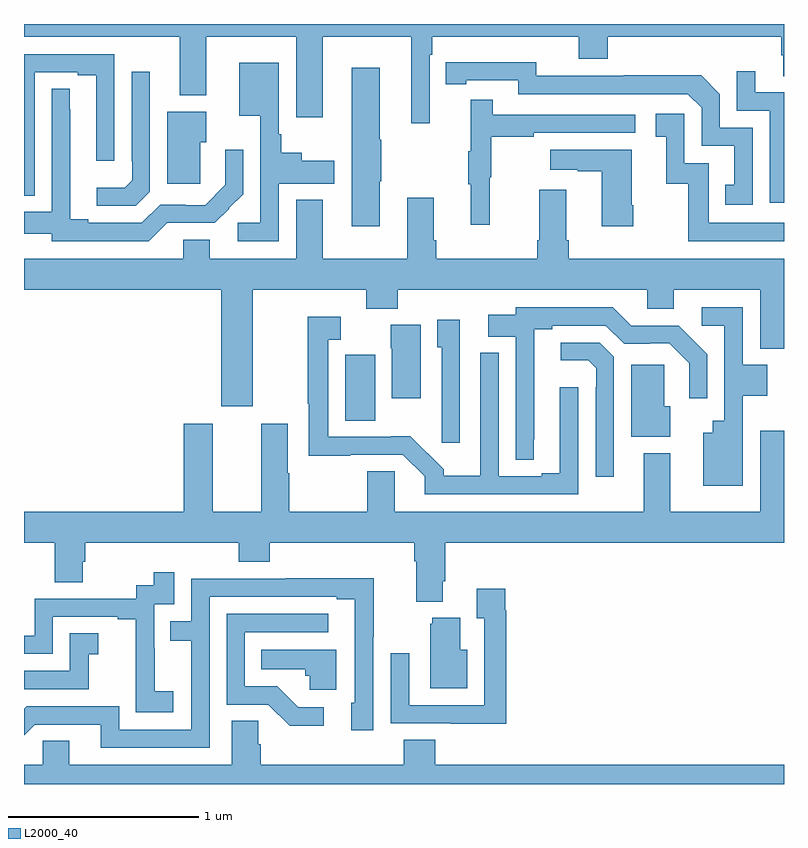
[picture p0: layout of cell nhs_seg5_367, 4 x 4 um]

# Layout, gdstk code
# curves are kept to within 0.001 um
import gdstk
lib = gdstk.Library(unit=1e-6, precision=1e-09)
def R(c, l, rs):  # rectangles x0, y0, x1, y1
    for r in rs: c.add(gdstk.rectangle(r[:2], r[2:], *l))
def P(c, l, *ps):  # polygons
    for p in ps: c.add(gdstk.Polygon(p, *l))
L2000_40 = (2000, 40)

nhs_seg5_367 = lib.new_cell('nhs_seg5_367')
R(nhs_seg5_367, L2000_40, [(134.69,882.712,134.848,883.057)])
P(nhs_seg5_367, L2000_40, [(133,884.732),(133.82,884.732),(133.82,884.423),(133.96,884.423),(133.96,884.732),(134.432,884.732),(134.432,884.307),(134.572,884.307),(134.572,884.732),(135.038,884.732),(135.038,884.277),(135.135,884.277),(135.135,884.636),(135.149,884.636),(135.149,884.732),(135.92,884.732),(135.92,884.615),(136.073,884.615),(136.073,884.732),(136.985,884.732),(136.985,884.634),(136.997,884.634),(136.997,884.524),(137,884.524),(137,884.799),(133,884.799)],
  [(133.056,884.544),(133.283,884.544),(133.283,884.529),(133.379,884.529),(133.379,884.079),(133.476,884.079),(133.476,884.64),(133,884.64),(133,883.895),(133.056,883.895)],
  [(136.836,884.253),(136.662,884.253),(136.662,884.43),(136.564,884.528),(136.156,884.528),(136.156,884.526),(135.696,884.526),(135.696,884.599),(135.22,884.598),(135.22,884.482),(135.328,884.482),(135.328,884.502),(135.6,884.502),(135.6,884.43),(136.494,884.43),(136.566,884.358),(136.566,884.157),(136.739,884.157),(136.739,883.953),(136.69,883.953),(136.69,883.848),(136.836,883.848)],
  [(134.34,883.958),(134.632,883.958),(134.632,884.08),(134.461,884.08),(134.461,884.122),(134.353,884.122),(134.353,884.218),(134.34,884.218),(134.34,884.596),(134.132,884.596),(134.132,884.315),(134.244,884.315),(134.244,883.752),(134.124,883.752),(134.124,883.656),(134.34,883.656)],
  [(134.872,883.972),(134.88,883.972),(134.88,884.189),(134.872,884.189),(134.872,884.569),(134.726,884.569),(134.726,883.734),(134.872,883.734)],
  [(137,884.439),(136.849,884.439),(136.849,884.551),(136.752,884.551),(136.752,884.343),(136.926,884.343),(136.926,883.857),(137,883.857)],
  [(133.662,883.917),(133.662,884.548),(133.566,884.548),(133.566,884.077),(133.569,884.077),(133.569,883.977),(133.529,883.937),(133.383,883.937),(133.383,883.842),(133.587,883.842)],
  [(133.753,883.752),(134.004,883.752),(134.154,883.904),(134.154,884.137),(134.06,884.137),(134.06,883.952),(133.954,883.846),(133.852,883.846),(133.852,883.848),(133.716,883.848),(133.62,883.752),(133.339,883.752),(133.339,883.772),(133.243,883.772),(133.242,884.459),(133.146,884.459),(133.146,883.81),(133.002,883.81),(133.002,883.694),(133.146,883.694),(133.146,883.656),(133.657,883.656)],
  [(135.452,883.992),(135.46,883.992),(135.46,884.206),(135.683,884.206),(135.683,884.226),(136.216,884.226),(136.216,884.322),(135.467,884.322),(135.467,884.401),(135.35,884.401),(135.35,884.129),(135.339,884.129),(135.339,883.955),(135.35,883.955),(135.35,883.743),(135.452,883.743)],
  [(133.927,884.177),(133.96,884.177),(133.96,884.338),(133.754,884.338),(133.754,883.959),(133.927,883.959)],
  [(137,883.752),(136.605,883.752),(136.605,884.067),(136.476,884.067),(136.476,884.326),(136.326,884.326),(136.326,884.205),(136.379,884.205),(136.379,883.959),(136.497,883.959),(136.497,883.656),(137,883.656)],
  [(136.206,883.846),(136.198,883.846),(136.198,884.137),(135.771,884.137),(135.771,884.033),(135.914,884.033),(135.914,884.023),(136.04,884.023),(136.04,883.734),(136.206,883.734)],
  [(134.203,883.4),(134.801,883.4),(134.801,883.301),(134.966,883.301),(134.966,883.4),(136.28,883.4),(136.28,883.301),(136.42,883.301),(136.42,883.4),(136.874,883.4),(136.874,883.091),(137,883.091),(137,883.564),(135.866,883.564),(135.866,883.66),(135.853,883.66),(135.853,883.927),(135.713,883.927),(135.713,883.66),(135.701,883.66),(135.701,883.564),(135.17,883.564),(135.17,883.66),(135.157,883.66),(135.157,883.885),(135.017,883.885),(135.017,883.564),(134.572,883.564),(134.572,883.873),(134.432,883.873),(134.432,883.564),(133.978,883.564),(133.978,883.663),(133.838,883.663),(133.838,883.564),(133,883.564),(133,883.4),(134.039,883.4),(134.039,882.786),(134.203,882.786)],
  [(135.684,882.613),(135.685,883.192),(135.781,883.192),(135.781,883.212),(136.062,883.212),(136.158,883.116),(136.294,883.116),(136.294,883.118),(136.396,883.118),(136.502,883.013),(136.502,882.828),(136.596,882.828),(136.596,883.06),(136.446,883.212),(136.195,883.212),(136.099,883.308),(135.588,883.308),(135.588,883.27),(135.444,883.27),(135.444,883.154),(135.588,883.154),(135.588,882.505),(135.684,882.505)],
  [(136.783,882.842),(136.912,882.842),(136.912,883.006),(136.782,883.006),(136.782,883.308),(136.566,883.308),(136.566,883.212),(136.686,883.212),(136.686,882.712),(136.625,882.712),(136.625,882.649),(136.574,882.649),(136.574,882.368),(136.783,882.368)],
  [(135.918,882.886),(135.821,882.886),(135.821,882.435),(135.725,882.435),(135.725,882.42),(135.498,882.42),(135.498,883.069),(135.402,883.069),(135.402,882.421),(135.208,882.421),(135.208,882.455),(135.034,882.629),(134.933,882.629),(134.933,882.627),(134.601,882.627),(134.601,883.137),(134.668,883.137),(134.668,883.258),(134.493,883.258),(134.493,882.8),(134.498,882.8),(134.498,882.526),(134.717,882.526),(134.717,882.531),(134.994,882.531),(135.108,882.418),(135.108,882.324),(135.918,882.324)],
  [(135.294,883.243),(135.176,883.243),(135.176,883.098),(135.198,883.098),(135.198,882.594),(135.294,882.594)],
  [(135.088,883.216),(134.93,883.216),(134.93,883.092),(134.936,883.092),(134.936,882.828),(135.088,882.828)],
  [(136.104,883.047),(136.029,883.122),(135.825,883.122),(135.825,883.028),(135.971,883.028),(136.011,882.987),(136.011,882.887),(136.008,882.887),(136.008,882.417),(136.104,882.417)],
  [(136.402,882.787),(136.369,882.787),(136.369,883.005),(136.196,883.005),(136.196,882.626),(136.402,882.626)],
  [(135.205,881.866),(135.218,881.866),(135.218,882.068),(137,882.068),(137,882.658),(136.874,882.658),(136.874,882.232),(136.402,882.232),(136.402,882.541),(136.262,882.541),(136.262,882.232),(134.952,882.232),(134.952,882.446),(134.806,882.446),(134.806,882.232),(134.397,882.232),(134.397,882.434),(134.389,882.434),(134.389,882.694),(134.249,882.694),(134.249,882.232),(133.993,882.232),(133.993,882.694),(133.841,882.694),(133.841,882.232),(133,882.232),(133,882.068),(133.162,882.068),(133.162,881.86),(133.309,881.86),(133.309,881.97),(133.322,881.97),(133.322,882.068),(134.129,882.068),(134.129,881.969),(134.294,881.969),(134.294,882.068),(135.053,882.068),(135.053,881.972),(135.065,881.972),(135.065,881.759),(135.205,881.759)],
  [(133.786,881.287),(133.688,881.287),(133.688,881.516),(133.686,881.516),(133.686,881.745),(133.791,881.745),(133.791,881.914),(133.683,881.914),(133.683,881.844),(133.59,881.844),(133.59,881.775),(133.056,881.775),(133.056,881.58),(133,881.58),(133,881.484),(133.152,881.484),(133.152,881.679),(133.493,881.679),(133.493,881.667),(133.589,881.667),(133.589,881.383),(133.588,881.383),(133.588,881.177),(133.786,881.177)],
  [(133.977,881.784),(134.645,881.784),(134.645,881.772),(134.742,881.772),(134.742,881.226),(134.723,881.226),(134.723,881.082),(134.838,881.082),(134.838,881.575),(134.841,881.575),(134.841,881.882),(134.377,881.882),(134.377,881.88),(133.881,881.88),(133.881,881.655),(133.771,881.655),(133.771,881.554),(133.881,881.554),(133.881,881.085),(133.5,881.085),(133.5,881.208),(133.014,881.208),(133,881.194),(133,881.056),(133.056,881.112),(133.403,881.112),(133.403,880.989),(133.977,880.989)],
  [(135.539,881.714),(135.532,881.714),(135.532,881.827),(135.383,881.827),(135.383,881.671),(135.423,881.671),(135.423,881.214),(135.027,881.214),(135.027,881.488),(134.931,881.488),(134.931,881.118),(135.247,881.118),(135.247,881.117),(135.539,881.117)],
  [(134.578,881.202),(134.443,881.202),(134.332,881.313),(134.163,881.313),(134.163,881.598),(134.602,881.598),(134.602,881.694),(134.067,881.694),(134.067,881.217),(134.286,881.217),(134.399,881.105),(134.578,881.105)],
  [(135.334,881.506),(135.295,881.506),(135.295,881.674),(135.149,881.674),(135.149,881.643),(135.137,881.643),(135.137,881.303),(135.334,881.303)],
  [(133.341,881.483),(133.39,881.483),(133.39,881.593),(133.242,881.593),(133.242,881.394),(133,881.394),(133,881.298),(133.341,881.298)],
  [(134.644,881.506),(134.248,881.506),(134.248,881.402),(134.479,881.402),(134.479,881.37),(134.505,881.37),(134.505,881.294),(134.644,881.294)],
  [(137,880.9),(135.164,880.9),(135.164,881.033),(134.999,881.033),(134.999,880.9),(134.246,880.9),(134.246,881.009),(134.232,881.009),(134.232,881.132),(134.093,881.132),(134.093,880.9),(133.237,880.9),(133.237,881.027),(133.098,881.027),(133.098,880.9),(133,880.9),(133,880.799),(137,880.799)])

lib.write_gds('nhs_seg5_367.gds')
